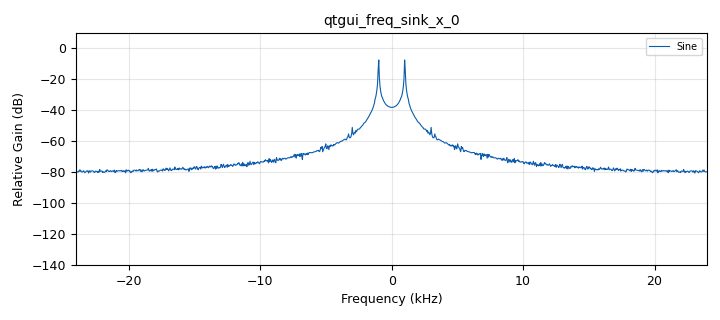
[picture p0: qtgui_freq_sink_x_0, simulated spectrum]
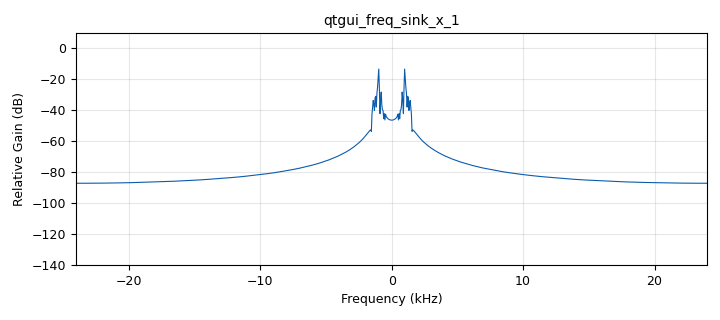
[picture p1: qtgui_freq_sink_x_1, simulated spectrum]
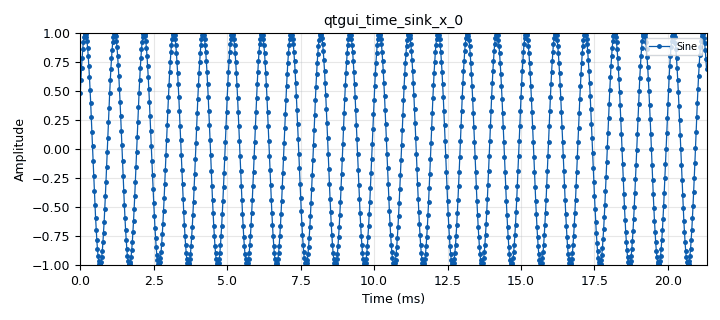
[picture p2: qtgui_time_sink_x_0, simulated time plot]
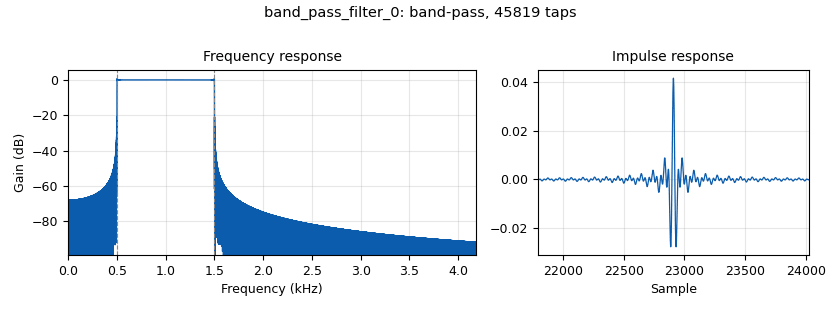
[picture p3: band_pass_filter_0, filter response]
options:
  parameters:
    author: han6-7
    generate_options: qt_gui
    id: PLLexp1
    output_language: python
    title: Addtive Noise
  states: {}

blocks:
- name: BW
  id: variable_qtgui_range
  parameters:
    start: '250'
    step: '100'
    stop: '5000'
    value: '1000'
  states: {}
- name: center
  id: variable_qtgui_range
  parameters:
    start: '500'
    step: '100'
    stop: '5000'
    value: '1000'
  states: {}
- name: freq
  id: variable_qtgui_range
  parameters:
    start: '0'
    step: '100'
    stop: '24000'
    value: '1000'
  states: {}
- name: samp_rate
  id: variable
  parameters:
    value: '48000'
  states: {}
- name: sig_amp
  id: variable_qtgui_range
  parameters:
    label: sig_amp
    start: '0.01'
    step: '0.01'
    stop: '1'
    value: '0.5'
  states: {}
- name: sigma
  id: variable_qtgui_range
  parameters:
    label: sigma
    start: '0.01'
    step: '0.01'
    stop: '1'
    value: '0.5'
  states: {}
- name: analog_noise_source_x_0
  id: analog_noise_source_x
  parameters:
    amp: sigma
    noise_type: analog.GR_GAUSSIAN
    seed: '0'
    type: float
  states: {}
- name: analog_pll_refout_cc_0
  id: analog_pll_refout_cc
  parameters:
    max_freq: '0.135'
    min_freq: '0.125'
    w: '628.319e-6'
  states: {}
- name: analog_sig_source_x_0
  id: analog_sig_source_x
  parameters:
    amp: sig_amp
    freq: freq
    offset: '0'
    phase: '0'
    samp_rate: samp_rate
    type: float
    waveform: analog.GR_SIN_WAVE
  states: {}
- name: audio_sink_0
  id: audio_sink
  parameters:
    samp_rate: samp_rate
  states: {}
- name: band_pass_filter_0
  id: band_pass_filter
  parameters:
    decim: '1'
    gain: '1'
    high_cutoff_freq: center+BW/2
    low_cutoff_freq: center-BW/2
    samp_rate: samp_rate
    type: fir_filter_fff
    width: '1'
    win: window.WIN_RECTANGULAR
  states: {}
- name: blocks_add_xx_0
  id: blocks_add_xx
  parameters:
    type: float
  states: {}
- name: blocks_complex_to_float_0
  id: blocks_complex_to_float
  parameters: {}
  states: {}
- name: blocks_float_to_complex_0
  id: blocks_float_to_complex
  parameters: {}
  states: {}
- name: blocks_throttle2_0
  id: blocks_throttle2
  parameters:
    samples_per_second: samp_rate
    type: float
  states: {}
- name: qtgui_freq_sink_x_0
  id: qtgui_freq_sink_x
  parameters:
    bw: samp_rate
    fc: '0'
    fftsize: '1024'
    gui_hint: 0,0,1,1
    label1: Sine
    type: float
    wintype: window.WIN_RECTANGULAR
  states: {}
- name: qtgui_freq_sink_x_1
  id: qtgui_freq_sink_x
  parameters:
    bw: samp_rate
    fc: '0'
    fftsize: '1024'
    type: float
    wintype: window.WIN_RECTANGULAR
  states: {}
- name: qtgui_time_sink_x_0
  id: qtgui_time_sink_x
  parameters:
    entags: 'False'
    gui_hint: 0,2,1,1
    label1: Sine
    marker1: '2'
    size: '1024'
    srate: samp_rate
    type: float
  states: {}

connections:
- [analog_noise_source_x_0, '0', blocks_add_xx_0, '1']
- [analog_pll_refout_cc_0, '0', blocks_complex_to_float_0, '0']
- [analog_sig_source_x_0, '0', blocks_add_xx_0, '0']
- [band_pass_filter_0, '0', blocks_float_to_complex_0, '0']
- [band_pass_filter_0, '0', qtgui_freq_sink_x_1, '0']
- [blocks_add_xx_0, '0', band_pass_filter_0, '0']
- [blocks_complex_to_float_0, '0', blocks_throttle2_0, '0']
- [blocks_float_to_complex_0, '0', analog_pll_refout_cc_0, '0']
- [blocks_throttle2_0, '0', audio_sink_0, '0']
- [blocks_throttle2_0, '0', qtgui_freq_sink_x_0, '0']
- [blocks_throttle2_0, '0', qtgui_time_sink_x_0, '0']

metadata:
  file_format: 1
  grc_version: 3.10.9.2
